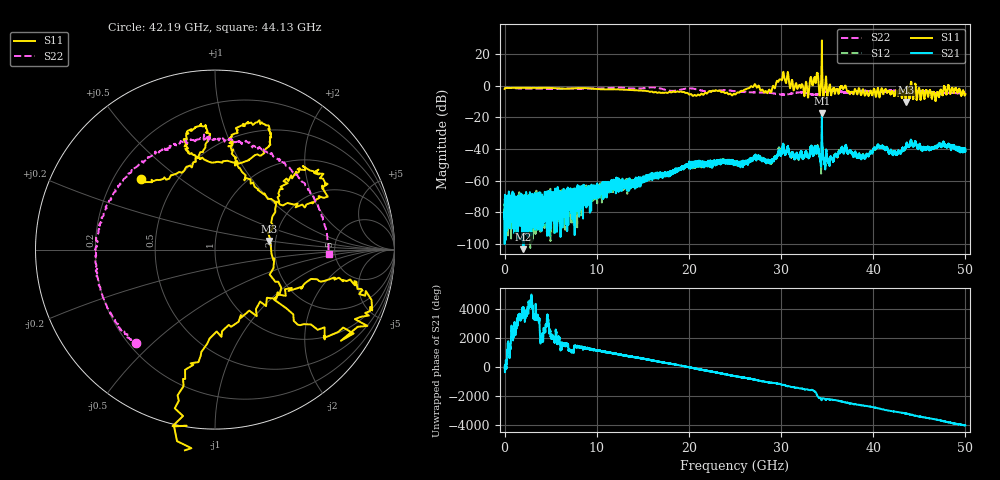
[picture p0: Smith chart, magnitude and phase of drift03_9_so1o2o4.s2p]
!Created with skrf (http://scikit-rf.org).
# Hz S RI R 50.0
!freq ReS11 ImS11 ReS21 ImS21 ReS12 ImS12 ReS22 ImS22
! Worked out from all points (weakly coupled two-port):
!   10000 points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, 5.3 MHz to 50 GHz, reference 50 ohm
!   highest |S21| = -17.30 dB at 34.43 GHz (marker M1); lowest = -103.3 dB at 2.045 GHz (marker M2)
!   lowest |S11| = -10.3 dB at 43.52 GHz (marker M3), VSWR 1.88, Z = 92.8 + j9.81 ohm
!   |S11| at or under -10 dB: 43.50855 GHz to 43.53527 GHz (26.72 MHz wide, 0.0614 % of centre)
!   |S22| runs from -5.8 to -1.1 dB; largest |S21 - S12| = 0.036
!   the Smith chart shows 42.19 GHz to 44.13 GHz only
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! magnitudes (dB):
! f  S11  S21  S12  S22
! 5.3 MHz  -2.1  -83.2  -74.6  -1.3
! 2.045 GHz  -1.3  -103.3  -77.1  -1.9
! 8.34 GHz  -1.5  -67.5  -70.8  -2.1
! 16.67 GHz  -4.4  -58.9  -57.2  -1.5
! 20.45 GHz  -6.5  -48.8  -50.4  -1.9
! 25.01 GHz  -5.5  -48.0  -48.5  -3.6
! 27.02 GHz  -0.4  -45.4  -46.0  -4.3
! 28.72 GHz  -2.5  -48.3  -48.3  -4.6
! 30.14 GHz  4.3  -41.6  -40.2  -5.6
! 32.74 GHz  2.1  -41.6  -42.3  -4.7
! 33.34 GHz  2.6  -39.9  -40.5  -5.6
! 33.82 GHz  3.9  -41.7  -42.1  -5.7
! 34.43 GHz  28.6  -17.3  -18.7  -4.6
! 35.29 GHz  0.6  -48.6  -47.8  -3.4
! 36.84 GHz  -1.2  -42.0  -41.8  -4.2
! 38.88 GHz  -2.4  -43.9  -43.3  -3.2
! 40.57 GHz  -2.9  -37.5  -38.0  -4.0
! 41.67 GHz  -3.5  -41.4  -42.4  -3.4
! 42.73 GHz  -6.1  -41.3  -41.7  -3.6
! 43.52 GHz  -10.3  -38.7  -38.4  -4.2
! 47.95 GHz  -5.3  -37.8  -38.5  -4.7
! 50 GHz  -5.4  -40.2  -40.4  -4.6
